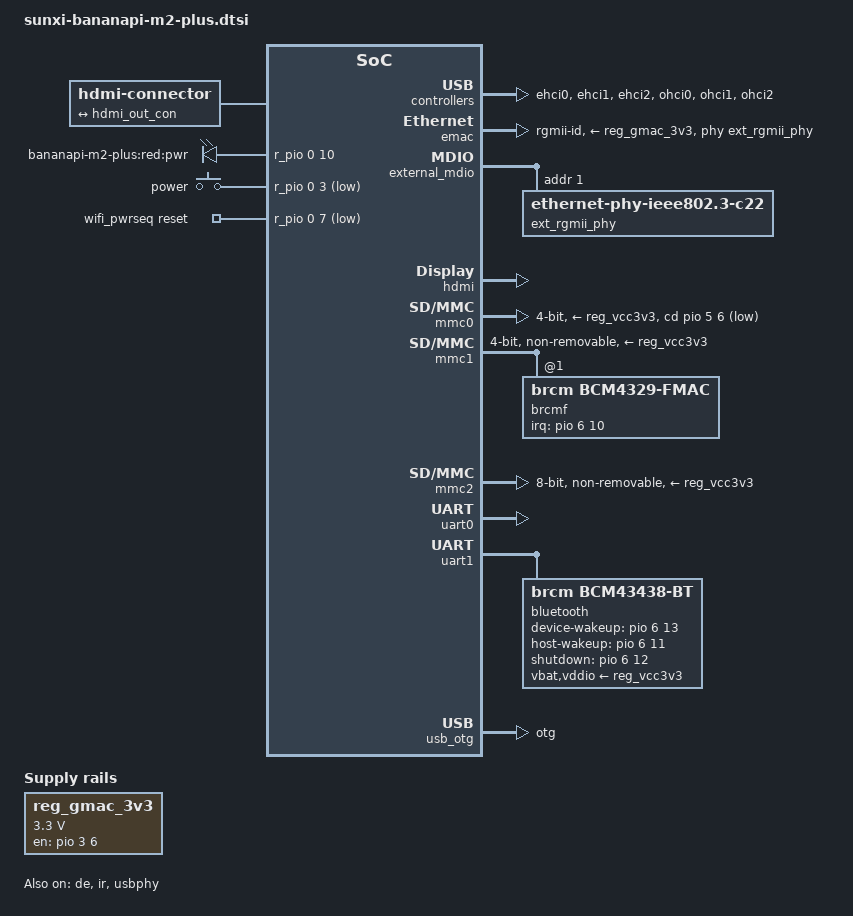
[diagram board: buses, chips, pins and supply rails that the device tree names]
/*
 * Copyright (C) 2016 Chen-Yu Tsai <wens@csie.org>
 *
 * This file is dual-licensed: you can use it either under the terms
 * of the GPL or the X11 license, at your option. Note that this dual
 * licensing only applies to this file, and not this project as a
 * whole.
 *
 *  a) This file is free software; you can redistribute it and/or
 *     modify it under the terms of the GNU General Public License as
 *     published by the Free Software Foundation; either version 2 of the
 *     License, or (at your option) any later version.
 *
 *     This file is distributed in the hope that it will be useful,
 *     but WITHOUT ANY WARRANTY; without even the implied warranty of
 *     MERCHANTABILITY or FITNESS FOR A PARTICULAR PURPOSE.  See the
 *     GNU General Public License for more details.
 *
 * Or, alternatively,
 *
 *  b) Permission is hereby granted, free of charge, to any person
 *     obtaining a copy of this software and associated documentation
 *     files (the "Software"), to deal in the Software without
 *     restriction, including without limitation the rights to use,
 *     copy, modify, merge, publish, distribute, sublicense, and/or
 *     sell copies of the Software, and to permit persons to whom the
 *     Software is furnished to do so, subject to the following
 *     conditions:
 *
 *     The above copyright notice and this permission notice shall be
 *     included in all copies or substantial portions of the Software.
 *
 *     THE SOFTWARE IS PROVIDED "AS IS", WITHOUT WARRANTY OF ANY KIND,
 *     EXPRESS OR IMPLIED, INCLUDING BUT NOT LIMITED TO THE WARRANTIES
 *     OF MERCHANTABILITY, FITNESS FOR A PARTICULAR PURPOSE AND
 *     NONINFRINGEMENT. IN NO EVENT SHALL THE AUTHORS OR COPYRIGHT
 *     HOLDERS BE LIABLE FOR ANY CLAIM, DAMAGES OR OTHER LIABILITY,
 *     WHETHER IN AN ACTION OF CONTRACT, TORT OR OTHERWISE, ARISING
 *     FROM, OUT OF OR IN CONNECTION WITH THE SOFTWARE OR THE USE OR
 *     OTHER DEALINGS IN THE SOFTWARE.
 */

#include "sunxi-common-regulators.dtsi"

#include <dt-bindings/gpio/gpio.h>
#include <dt-bindings/input/input.h>

/ {
	aliases {
		ethernet0 = &emac;
		serial0 = &uart0;
		serial1 = &uart1;
	};

	chosen {
		stdout-path = "serial0:115200n8";
	};

	connector {
		compatible = "hdmi-connector";
		type = "a";

		port {
			hdmi_con_in: endpoint {
				remote-endpoint = <&hdmi_out_con>;
			};
		};
	};

	leds {
		compatible = "gpio-leds";

		pwr_led {
			label = "bananapi-m2-plus:red:pwr";
			gpios = <&r_pio 0 10 GPIO_ACTIVE_HIGH>; /* PL10 */
			default-state = "on";
		};
	};

	gpio-keys {
		compatible = "gpio-keys";

		switch-4 {
			label = "power";
			linux,code = <KEY_POWER>;
			gpios = <&r_pio 0 3 GPIO_ACTIVE_LOW>;
			wakeup-source;
		};
	};

	reg_gmac_3v3: gmac-3v3 {
		compatible = "regulator-fixed";
		regulator-name = "gmac-3v3";
		regulator-min-microvolt = <3300000>;
		regulator-max-microvolt = <3300000>;
		startup-delay-us = <100000>;
		enable-active-high;
		gpio = <&pio 3 6 GPIO_ACTIVE_HIGH>;
	};

	wifi_pwrseq: pwrseq {
		compatible = "mmc-pwrseq-simple";
		reset-gpios = <&r_pio 0 7 GPIO_ACTIVE_LOW>; /* PL7 */
		clocks = <&rtc CLK_OSC32K_FANOUT>;
		clock-names = "ext_clock";
	};
};

&de {
	status = "okay";
};

&ehci0 {
	status = "okay";
};

&ehci1 {
	status = "okay";
};

&ehci2 {
	status = "okay";
};

&emac {
	pinctrl-names = "default";
	pinctrl-0 = <&emac_rgmii_pins>;
	phy-supply = <&reg_gmac_3v3>;
	phy-handle = <&ext_rgmii_phy>;
	phy-mode = "rgmii-id";

	status = "okay";
};

&external_mdio {
	ext_rgmii_phy: ethernet-phy@1 {
		compatible = "ethernet-phy-ieee802.3-c22";
		reg = <1>;
	};
};

&hdmi {
	status = "okay";
};

&hdmi_out {
	hdmi_out_con: endpoint {
		remote-endpoint = <&hdmi_con_in>;
	};
};

&ir {
	pinctrl-names = "default";
	pinctrl-0 = <&r_ir_rx_pin>;
	status = "okay";
};

&mmc0 {
	vmmc-supply = <&reg_vcc3v3>;
	bus-width = <4>;
	cd-gpios = <&pio 5 6 GPIO_ACTIVE_LOW>; /* PF6 */
	status = "okay";
};

&mmc1 {
	vmmc-supply = <&reg_vcc3v3>;
	vqmmc-supply = <&reg_vcc3v3>;
	mmc-pwrseq = <&wifi_pwrseq>;
	bus-width = <4>;
	non-removable;
	status = "okay";

	brcmf: wifi@1 {
		reg = <1>;
		compatible = "brcm,bcm4329-fmac";
		interrupt-parent = <&pio>;
		interrupts = <6 10 IRQ_TYPE_LEVEL_LOW>; /* PG10 / EINT10 */
		interrupt-names = "host-wake";
	};
};

&mmc2 {
	pinctrl-names = "default";
	pinctrl-0 = <&mmc2_8bit_pins>;
	vmmc-supply = <&reg_vcc3v3>;
	vqmmc-supply = <&reg_vcc3v3>;
	bus-width = <8>;
	non-removable;
	status = "okay";
};

&ohci0 {
	status = "okay";
};

&ohci1 {
	status = "okay";
};

&ohci2 {
	status = "okay";
};

&reg_usb0_vbus {
	gpio = <&pio 3 11 GPIO_ACTIVE_HIGH>; /* PD11 */
	status = "okay";
};

&uart0 {
	pinctrl-names = "default";
	pinctrl-0 = <&uart0_pa_pins>;
	status = "okay";
};

&uart1 {
	pinctrl-names = "default";
	pinctrl-0 = <&uart1_pins>, <&uart1_rts_cts_pins>;
	uart-has-rtscts;
	status = "okay";

	bluetooth {
		compatible = "brcm,bcm43438-bt";
		max-speed = <1500000>;
		clocks = <&rtc CLK_OSC32K_FANOUT>;
		clock-names = "lpo";
		vbat-supply = <&reg_vcc3v3>;
		vddio-supply = <&reg_vcc3v3>;
		device-wakeup-gpios = <&pio 6 13 GPIO_ACTIVE_HIGH>; /* PG13 */
		host-wakeup-gpios = <&pio 6 11 GPIO_ACTIVE_HIGH>; /* PG11 */
		shutdown-gpios = <&pio 6 12 GPIO_ACTIVE_HIGH>; /* PG12 */
	};
};

&usb_otg {
	dr_mode = "otg";
	status = "okay";
};

&usbphy {
	usb0_id_det-gpios = <&r_pio 0 6 GPIO_ACTIVE_HIGH>; /* PL6 */
	usb0_vbus-supply = <&reg_usb0_vbus>;
	/* USB host VBUS is on as long as VCC-IO is on */
	status = "okay";
};
